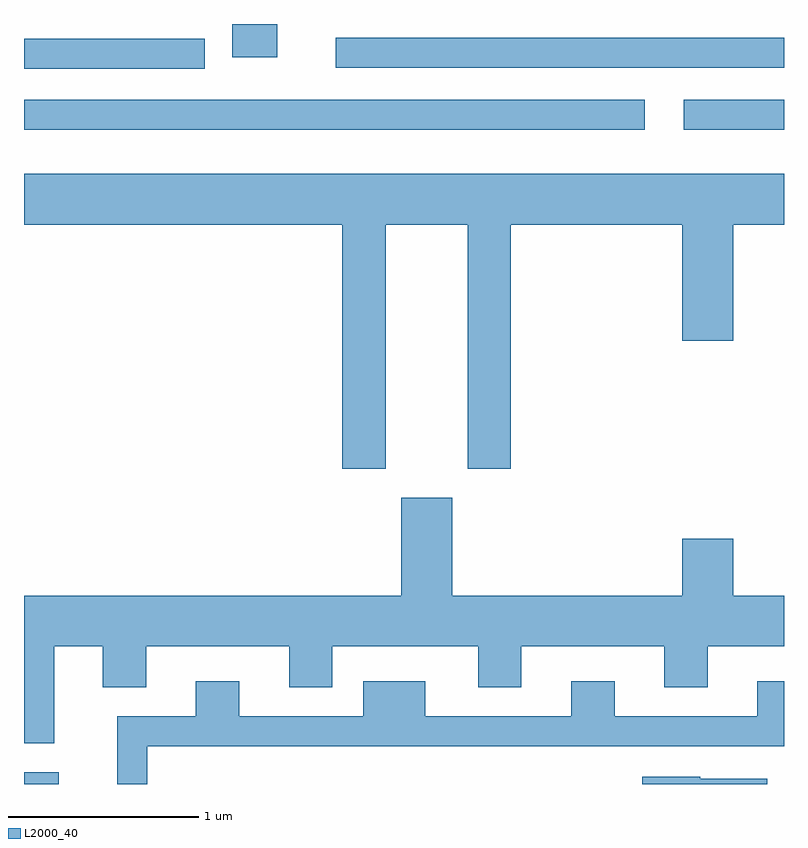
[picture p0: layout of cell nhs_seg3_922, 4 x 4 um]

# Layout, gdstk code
import gdstk
lib = gdstk.Library(unit=1e-6, precision=1e-09)
def R(c, l, rs):  # rectangles x0, y0, x1, y1
    for r in rs: c.add(gdstk.rectangle(r[:2], r[2:], *l))
def P(c, l, *ps):  # polygons
    for p in ps: c.add(gdstk.Polygon(p, *l))
L2000_40 = (2000, 40)

nhs_seg3_922 = lib.new_cell('nhs_seg3_922')
R(nhs_seg3_922, L2000_40, [(211.611,1191.892,211.794,1191.954), (211.611,1195.336,214.878,1195.494), (215.083,1195.336,215.611,1195.494), (211.611,1195.656,212.563,1195.814), (213.253,1195.661,215.611,1195.819), (212.706,1195.716,212.944,1195.892)])
P(nhs_seg3_922, L2000_40, [(213.514,1194.836),(213.946,1194.836),(213.946,1193.551),(214.174,1193.551),(214.174,1194.836),(215.076,1194.836),(215.076,1194.226),(215.344,1194.226),(215.344,1194.836),(215.611,1194.836),(215.611,1195.104),(211.611,1195.104),(211.611,1194.836),(213.286,1194.836),(213.286,1193.551),(213.514,1193.551)],
  [(211.769,1192.616),(212.026,1192.616),(212.026,1192.401),(212.254,1192.401),(212.254,1192.616),(213.006,1192.616),(213.006,1192.401),(213.234,1192.401),(213.234,1192.616),(214.001,1192.616),(214.001,1192.401),(214.229,1192.401),(214.229,1192.616),(214.981,1192.616),(214.981,1192.401),(215.209,1192.401),(215.209,1192.616),(215.611,1192.616),(215.611,1192.884),(215.344,1192.884),(215.344,1193.184),(215.076,1193.184),(215.076,1192.884),(213.864,1192.884),(213.864,1193.399),(213.596,1193.399),(213.596,1192.884),(211.611,1192.884),(211.611,1192.106),(211.769,1192.106)],
  [(212.259,1192.091),(215.611,1192.091),(215.611,1192.434),(215.471,1192.434),(215.471,1192.249),(214.719,1192.249),(214.719,1192.434),(214.491,1192.434),(214.491,1192.249),(213.724,1192.249),(213.724,1192.434),(213.396,1192.434),(213.396,1192.249),(212.744,1192.249),(212.744,1192.434),(212.516,1192.434),(212.516,1192.249),(212.101,1192.249),(212.101,1191.892),(212.259,1191.892)],
  [(215.524,1191.919),(215.17,1191.919),(215.17,1191.929),(214.866,1191.929),(214.866,1191.892),(215.524,1191.892)])

lib.write_gds('nhs_seg3_922.gds')
